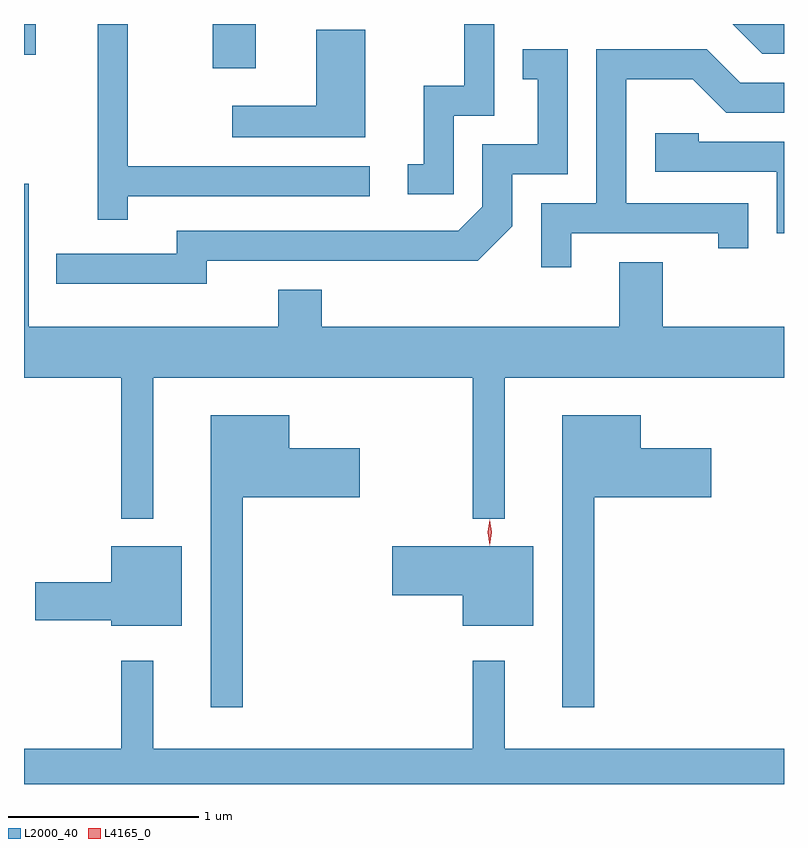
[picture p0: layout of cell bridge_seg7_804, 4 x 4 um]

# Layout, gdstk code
import gdstk
lib = gdstk.Library(unit=1e-6, precision=1e-09)
def R(c, l, rs):  # rectangles x0, y0, x1, y1
    for r in rs: c.add(gdstk.rectangle(r[:2], r[2:], *l))
def P(c, l, *ps):  # polygons
    for p in ps: c.add(gdstk.Polygon(p, *l))
L2000_40 = (2000, 40)
L4165_0 = (4165, 0)

bridge_seg7_804 = lib.new_cell('bridge_seg7_804')
R(bridge_seg7_804, L2000_40, [(211.021,1782.546,211.249,1782.778), (210.028,1782.616,210.089,1782.778)])
P(bridge_seg7_804, L2000_40, [(210.574,1781.871),(211.848,1781.871),(211.848,1782.029),(210.574,1782.029),(210.574,1782.778),(210.416,1782.778),(210.416,1781.748),(210.574,1781.748)],
  [(214.028,1782.778),(213.757,1782.778),(213.914,1782.621),(214.028,1782.621)],
  [(212.289,1782.296),(212.504,1782.296),(212.504,1782.778),(212.346,1782.778),(212.346,1782.454),(212.131,1782.454),(212.131,1782.039),(212.048,1782.039),(212.048,1781.881),(212.289,1781.881)],
  [(211.824,1782.749),(211.566,1782.749),(211.566,1782.349),(211.123,1782.349),(211.123,1782.181),(211.824,1782.181)],
  [(210.989,1781.531),(212.417,1781.531),(212.599,1781.714),(212.599,1781.986),(212.889,1781.986),(212.889,1782.644),(212.653,1782.644),(212.653,1782.486),(212.731,1782.486),(212.731,1782.144),(212.441,1782.144),(212.441,1781.817),(212.314,1781.689),(210.831,1781.689),(210.831,1781.569),(210.198,1781.569),(210.198,1781.411),(210.989,1781.411)],
  [(212.909,1781.676),(213.681,1781.676),(213.681,1781.598),(213.839,1781.598),(213.839,1781.834),(213.199,1781.834),(213.199,1782.486),(213.549,1782.486),(213.724,1782.311),(214.028,1782.311),(214.028,1782.469),(213.797,1782.469),(213.622,1782.644),(213.041,1782.644),(213.041,1781.834),(212.751,1781.834),(212.751,1781.498),(212.909,1781.498)],
  [(214.028,1782.159),(213.579,1782.159),(213.579,1782.204),(213.351,1782.204),(213.351,1782.001),(213.991,1782.001),(213.991,1781.676),(214.028,1781.676)],
  [(210.709,1780.916),(212.391,1780.916),(212.391,1780.173),(212.559,1780.173),(212.559,1780.916),(214.028,1780.916),(214.028,1781.184),(213.389,1781.184),(213.389,1781.524),(213.161,1781.524),(213.161,1781.184),(211.594,1781.184),(211.594,1781.379),(211.366,1781.379),(211.366,1781.184),(210.054,1781.184),(210.054,1781.938),(210.028,1781.938),(210.028,1780.916),(210.541,1780.916),(210.541,1780.173),(210.709,1780.173)],
  [(213.029,1780.286),(213.644,1780.286),(213.644,1780.544),(213.274,1780.544),(213.274,1780.719),(212.861,1780.719),(212.861,1779.183),(213.029,1779.183)],
  [(211.179,1780.286),(211.794,1780.286),(211.794,1780.544),(211.424,1780.544),(211.424,1780.719),(211.011,1780.719),(211.011,1779.183),(211.179,1779.183)],
  [(212.709,1780.029),(211.966,1780.029),(211.966,1779.771),(212.336,1779.771),(212.336,1779.611),(212.709,1779.611)],
  [(210.859,1780.029),(210.486,1780.029),(210.486,1779.839),(210.086,1779.839),(210.086,1779.641),(210.486,1779.641),(210.486,1779.611),(210.859,1779.611)],
  [(214.028,1778.964),(212.559,1778.964),(212.559,1779.428),(212.391,1779.428),(212.391,1778.964),(210.709,1778.964),(210.709,1779.428),(210.541,1779.428),(210.541,1778.964),(210.028,1778.964),(210.028,1778.778),(214.028,1778.778)])
P(bridge_seg7_804, L4165_0, [(212.479,1780.04),(212.478,1780.041),(212.469,1780.103),(212.478,1780.166),(212.478,1780.167),(212.479,1780.166),(212.488,1780.104),(212.479,1780.041)],
  [(212.479,1780.034),(212.479,1780.034),(212.469,1780.102),(212.478,1780.17),(212.478,1780.17),(212.479,1780.17),(212.489,1780.102),(212.48,1780.034)])

lib.write_gds('bridge_seg7_804.gds')
